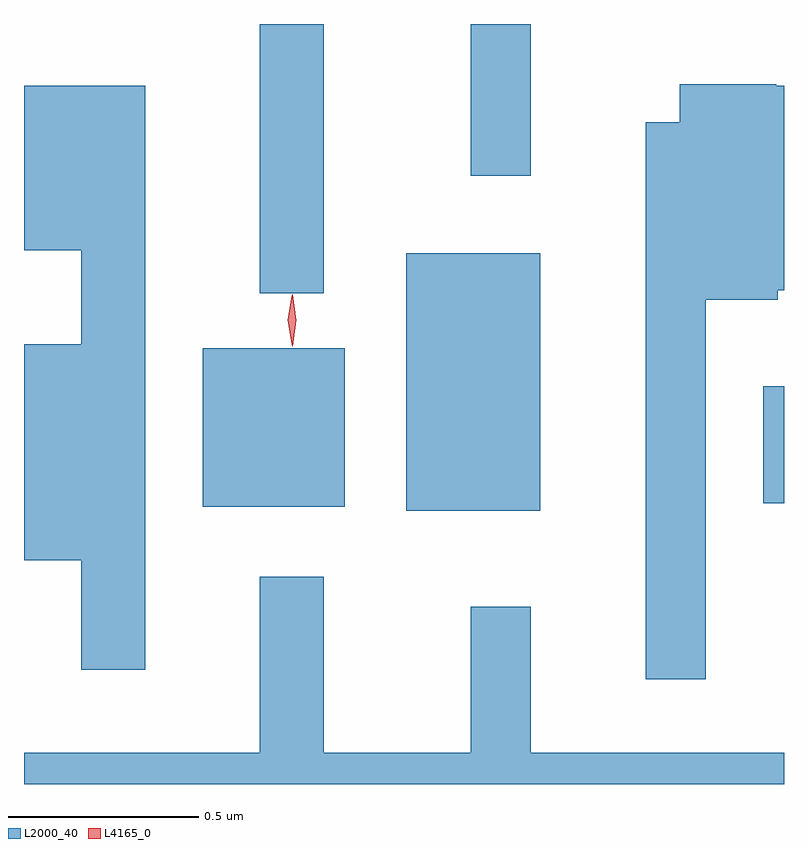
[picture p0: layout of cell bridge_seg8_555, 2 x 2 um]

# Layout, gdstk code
import gdstk
lib = gdstk.Library(unit=1e-6, precision=1e-09)
def R(c, l, rs):  # rectangles x0, y0, x1, y1
    for r in rs: c.add(gdstk.rectangle(r[:2], r[2:], *l))
def P(c, l, *ps):  # polygons
    for p in ps: c.add(gdstk.Polygon(p, *l))
L2000_40 = (2000, 40)
L4165_0 = (4165, 0)

bridge_seg8_555 = lib.new_cell('bridge_seg8_555')
R(bridge_seg8_555, L2000_40, [(471.696,1855.081,472.049,1855.759), (471.161,1855.091,471.534,1855.509), (472.636,1855.101,472.69,1855.409), (471.311,1855.653,471.479,1856.362), (471.866,1855.963,472.024,1856.362)])
P(bridge_seg8_555, L2000_40, [(472.484,1855.636),(472.674,1855.636),(472.674,1855.661),(472.69,1855.661),(472.69,1856.199),(472.67,1856.199),(472.67,1856.204),(472.416,1856.204),(472.416,1856.104),(472.326,1856.104),(472.326,1854.638),(472.484,1854.638)],
  [(471.009,1856.199),(470.69,1856.199),(470.69,1855.766),(470.841,1855.766),(470.841,1855.519),(470.69,1855.519),(470.69,1854.951),(470.841,1854.951),(470.841,1854.663),(471.009,1854.663)],
  [(472.69,1854.444),(472.024,1854.444),(472.024,1854.828),(471.866,1854.828),(471.866,1854.444),(471.479,1854.444),(471.479,1854.908),(471.311,1854.908),(471.311,1854.444),(470.69,1854.444),(470.69,1854.362),(472.69,1854.362)])
P(bridge_seg8_555, L4165_0, [(471.394,1855.518),(471.394,1855.519),(471.384,1855.583),(471.394,1855.647),(471.394,1855.647),(471.395,1855.647),(471.404,1855.583),(471.395,1855.519)],
  [(471.396,1855.514),(471.387,1855.582),(471.396,1855.65),(471.397,1855.651),(471.397,1855.65),(471.407,1855.582),(471.397,1855.514),(471.397,1855.514)])

lib.write_gds('bridge_seg8_555.gds')
